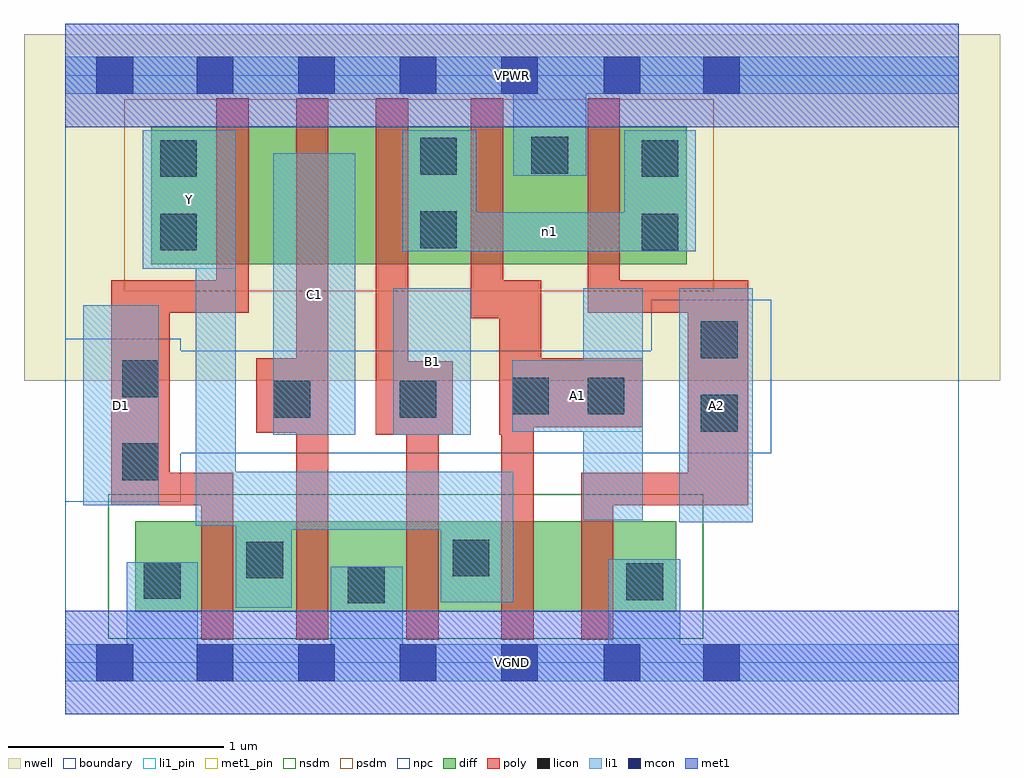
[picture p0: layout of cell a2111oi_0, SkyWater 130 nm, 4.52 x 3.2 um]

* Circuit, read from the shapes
.subckt a2111oi_0 A1 A2 B1 C1 D1 VGND VPWR Y n1
XM1 Y D1 VGND VSUBS sky130_fd_pr__nfet_01v8 w=0.42 l=0.15
XM2 VGND C1 Y VSUBS sky130_fd_pr__nfet_01v8 w=0.42 l=0.15
XM3 Y B1 VGND VSUBS sky130_fd_pr__nfet_01v8 w=0.42 l=0.15
XM4 n2 A1 Y VSUBS sky130_fd_pr__nfet_01v8 w=0.42 l=0.15
XM5 VGND A2 n2 VSUBS sky130_fd_pr__nfet_01v8 w=0.42 l=0.15
XM6 n3 D1 Y n4 sky130_fd_pr__pfet_01v8 w=0.64 l=0.15
XM7 n5 C1 n3 n4 sky130_fd_pr__pfet_01v8 w=0.64 l=0.15
XM8 n1 B1 n5 n4 sky130_fd_pr__pfet_01v8 w=0.64 l=0.15
XM9 VPWR A1 n1 n4 sky130_fd_pr__pfet_01v8 w=0.64 l=0.15
XM10 n1 A2 VPWR n4 sky130_fd_pr__pfet_01v8 w=0.64 l=0.15
.ends

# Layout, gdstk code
import gdstk
lib = gdstk.Library(unit=1e-6, precision=1e-09)
def R(c, l, rs):  # rectangles x0, y0, x1, y1
    for r in rs: c.add(gdstk.rectangle(r[:2], r[2:], *l))
def A(c, l, x, y, w, h, nx, ny, dx, dy):  # array of equal rectangles
    R(c, l, [(x+i*dx, y+j*dy, x+i*dx+w, y+j*dy+h) for i in range(nx) for j in range(ny)])
nwell = (64, 20)
diff = (65, 20)
poly = (66, 20)
licon = (66, 44)
li1_pin = (67, 16)
li1 = (67, 20)
mcon = (67, 44)
met1_pin = (68, 16)
met1 = (68, 20)
nsdm = (93, 44)
psdm = (94, 20)
npc = (95, 20)
boundary = (235, 4)

a2111oi_0 = lib.new_cell('a2111oi_0')
R(a2111oi_0, nwell, [(-0.19,1.305,4.33,2.91), (0,1.305,4.14,2.91)])
R(a2111oi_0, diff, [(0.325,0.235,2.83,0.655), (0.4,1.845,2.88,2.485)])
R(a2111oi_0, poly, [(0.63,0.105,0.78,0.88), (1.07,0.105,1.22,2.615), (1.58,0.105,1.73,1.395), (2.02,0.105,2.17,1.77), (2.39,0.105,2.54,0.88), (0.215,0.73,0.485,1.77), (0.215,0.73,0.78,0.88), (2.39,0.73,3.165,0.88), (2.885,0.73,3.165,1.77), (1.44,1.055,1.59,2.615), (1.44,1.055,1.795,1.395), (2.01,1.055,2.17,1.77), (0.885,1.065,1.22,1.41), (2.01,1.09,2.675,1.41), (2.01,1.09,2.205,1.77), (1.88,1.595,2.03,2.615), (0.215,1.62,0.85,1.77), (0.7,1.62,0.85,2.615), (2.42,1.62,2.57,2.615), (2.42,1.62,3.165,1.77)])
R(a2111oi_0, licon, [(1.31,0.275,1.48,0.445), (2.6,0.29,2.77,0.46), (0.365,0.295,0.535,0.465), (0.84,0.39,1.01,0.56), (1.795,0.4,1.965,0.57), (0.265,0.845,0.435,1.015), (2.945,1.07,3.115,1.24), (0.965,1.135,1.135,1.305), (1.55,1.135,1.72,1.305), (2.07,1.15,2.24,1.32), (2.42,1.15,2.59,1.32), (0.265,1.23,0.435,1.4), (2.945,1.41,3.115,1.58), (0.44,1.91,0.61,2.08), (2.67,1.91,2.84,2.08), (1.645,1.92,1.815,2.09), (0.44,2.25,0.61,2.42), (2.67,2.25,2.84,2.42), (1.645,2.26,1.815,2.43), (2.16,2.265,2.33,2.435)])
R(a2111oi_0, li1_pin, [(2.845,0.65,3.185,1.735), (0.085,0.73,0.435,1.655), (0.965,1.055,1.345,2.36), (1.52,1.055,1.88,1.735), (2.07,1.07,2.675,1.4), (0.36,1.825,0.79,2.465)])
R(a2111oi_0, li1, [(0,-0.085,4.14,0.085), (0.285,-0.085,0.615,0.465), (1.23,-0.085,1.565,0.445), (2.515,-0.085,2.85,0.48), (0.79,0.255,1.05,0.885), (1.74,0.28,2.075,0.885), (0.79,0.615,2.075,0.885), (0.605,0.635,0.79,2.465), (2.845,0.65,3.185,1.735), (2.4,0.66,2.675,1.735), (0.085,0.73,0.435,1.655), (0.965,1.055,1.345,2.36), (1.52,1.055,1.88,1.735), (2.07,1.07,2.675,1.4), (0.36,1.825,0.79,2.465), (1.565,1.905,2.92,2.085), (1.565,1.905,1.905,2.465), (2.59,1.905,2.92,2.465), (2.075,2.255,2.415,2.805), (0,2.635,4.14,2.805)])
A(a2111oi_0, mcon, 0.61, -0.085, 0.17, 0.17, 4, 2, 0.47, 2.72)
R(a2111oi_0, mcon, [(0.145,-0.085,0.315,0.085), (2.495,-0.085,2.665,0.085), (2.955,-0.085,3.125,0.085), (0.145,2.635,0.315,2.805), (2.495,2.635,2.665,2.805), (2.955,2.635,3.125,2.805)])
R(a2111oi_0, met1_pin, [(0,-0.24,4.14,0.24), (0,2.48,4.14,2.96)])
R(a2111oi_0, met1, [(0,-0.24,4.14,0.24), (0,2.48,4.14,2.96)])
R(a2111oi_0, nsdm, [(0.2,0.11,2.955,0.78)])
R(a2111oi_0, psdm, [(0.275,1.72,3.005,2.61)])
R(a2111oi_0, npc, [(0,0.745,0.535,1.5), (0,0.97,3.27,1.445), (2.715,0.97,3.27,1.68)])
R(a2111oi_0, boundary, [(0,0,4.14,2.72)])
a2111oi_0.add(gdstk.Label('A1', (2.372,1.235), layer=67, texttype=5))
a2111oi_0.add(gdstk.Label('A2', (3.015,1.192), layer=67, texttype=5))
a2111oi_0.add(gdstk.Label('B1', (1.7,1.395), layer=67, texttype=5))
a2111oi_0.add(gdstk.Label('C1', (1.155,1.707), layer=67, texttype=5))
a2111oi_0.add(gdstk.Label('D1', (0.26,1.192), layer=67, texttype=5))
a2111oi_0.add(gdstk.Label('Y', (0.575,2.145), layer=67, texttype=5))
a2111oi_0.add(gdstk.Label('n1', (2.242,1.995), layer=67, texttype=5))
a2111oi_0.add(gdstk.Label('VPWR', (2.07,2.72), layer=68, texttype=5))
a2111oi_0.add(gdstk.Label('VGND', (2.07,0), layer=68, texttype=5))
a2111oi_0.add(gdstk.Label('A1', (2.372,1.235), layer=67, texttype=16))
a2111oi_0.add(gdstk.Label('A2', (3.015,1.192), layer=67, texttype=16))
a2111oi_0.add(gdstk.Label('B1', (1.7,1.395), layer=67, texttype=16))
a2111oi_0.add(gdstk.Label('C1', (1.155,1.707), layer=67, texttype=16))
a2111oi_0.add(gdstk.Label('D1', (0.26,1.192), layer=67, texttype=16))
a2111oi_0.add(gdstk.Label('Y', (0.575,2.145), layer=67, texttype=16))
a2111oi_0.add(gdstk.Label('VPWR', (2.07,2.72), layer=68, texttype=16))
a2111oi_0.add(gdstk.Label('VGND', (2.07,0), layer=68, texttype=16))

lib.write_gds('a2111oi_0.gds')
